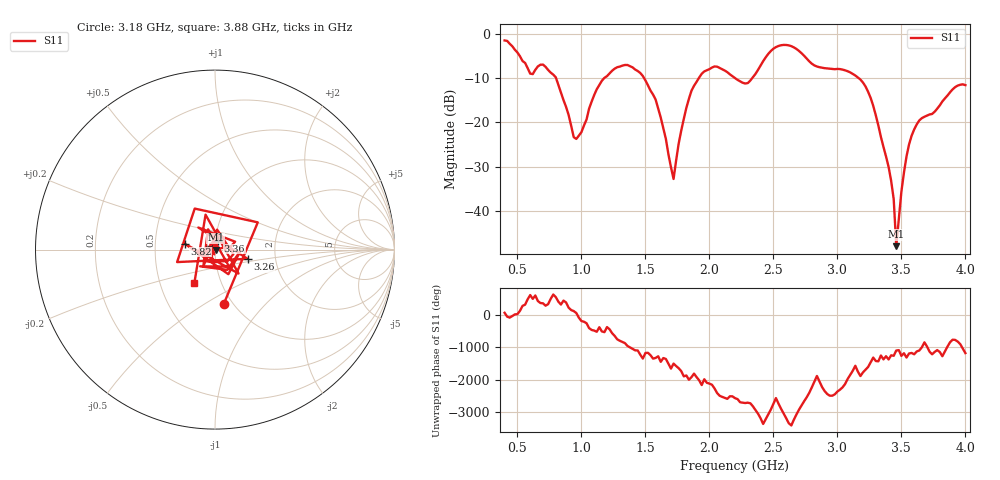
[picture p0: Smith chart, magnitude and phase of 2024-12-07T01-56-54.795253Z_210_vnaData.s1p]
!Created with skrf (http://scikit-rf.org).
# Hz S RI R 50.0
!freq ReS11 ImS11
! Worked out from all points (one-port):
!   181 points, 400 MHz to 4 GHz, reference 50 ohm
!   lowest |S11| = -48.0 dB at 3.46 GHz (marker M1), VSWR 1.01, Z = 50.4 - j0.1 ohm
!   |S11| at or under -10 dB: 802.4 MHz to 1.177 GHz (374.7 MHz wide, 37.9 % of centre); 1.49 GHz to 1.917 GHz (426.4 MHz wide, 25 % of centre); 3.167 GHz to end of sweep (the widest 3 of 4)
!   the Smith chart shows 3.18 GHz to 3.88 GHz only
!   S11 on the Smith chart (normalised r, x): 3.18 GHz: 0.91, -0.61; 3.26 GHz: 1.44, -0.15; 3.36 GHz: 1.03, +0.10; 3.82 GHz: 0.71, +0.05; 3.88 GHz: 0.74, -0.29
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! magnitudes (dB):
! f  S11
! 400 MHz  -1.4
! 600 MHz  -8.9
! 720 MHz  -7.4
! 860 MHz  -14.9
! 960 MHz  -23.7
! 1.16 GHz  -10.6
! 1.3 GHz  -7.4
! 1.46 GHz  -8.8
! 1.58 GHz  -14.8
! 1.72 GHz  -32.8
! 1.76 GHz  -24.8
! 1.86 GHz  -12.8
! 1.94 GHz  -9.0
! 2.2 GHz  -10.0
! 2.3 GHz  -11.1
! 2.5 GHz  -3.3
! 2.66 GHz  -3.0
! 3.1 GHz  -8.7
! 3.18 GHz  -10.3
! 3.26 GHz  -14.5
! 3.36 GHz  -25.6
! 3.44 GHz  -37.4
! 3.46 GHz  -48.0
! 3.5 GHz  -35.7
! 3.56 GHz  -25.0
! 3.82 GHz  -15.3
! 3.88 GHz  -13.2
! 4 GHz  -11.6
